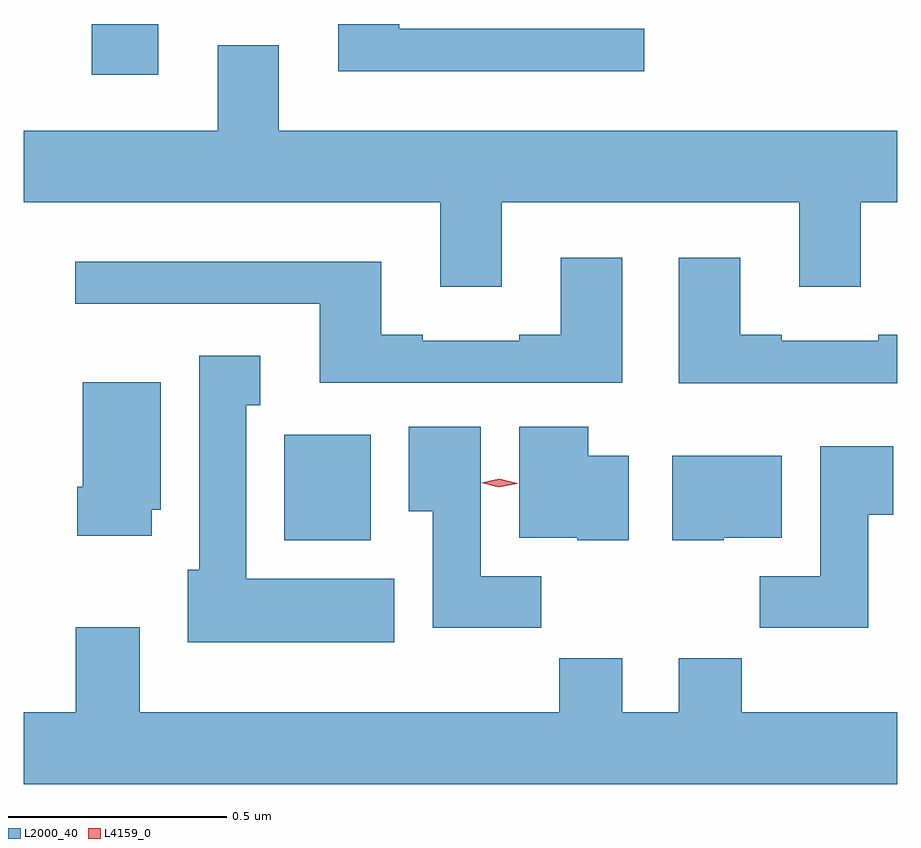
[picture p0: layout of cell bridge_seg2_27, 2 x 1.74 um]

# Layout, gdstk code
import gdstk
lib = gdstk.Library(unit=1e-6, precision=1e-09)
def R(c, l, rs):  # rectangles x0, y0, x1, y1
    for r in rs: c.add(gdstk.rectangle(r[:2], r[2:], *l))
def P(c, l, *ps):  # polygons
    for p in ps: c.add(gdstk.Polygon(p, *l))
L2000_40 = (2000, 40)
L4159_0 = (4159, 0)

bridge_seg2_27 = lib.new_cell('bridge_seg2_27')
R(bridge_seg2_27, L2000_40, [(825.368,604.238,825.565,604.48), (824.927,605.304,825.079,605.42)])
P(bridge_seg2_27, L2000_40, [(826.192,605.409),(825.631,605.409),(825.631,605.42),(825.491,605.42),(825.491,605.312),(826.192,605.312)],
  [(825.865,605.012),(826.547,605.012),(826.547,604.818),(826.687,604.818),(826.687,605.012),(826.771,605.012),(826.771,605.176),(825.355,605.176),(825.355,605.371),(825.215,605.371),(825.215,605.176),(824.771,605.176),(824.771,605.012),(825.725,605.012),(825.725,604.818),(825.865,604.818)],
  [(826.771,604.708),(826.727,604.708),(826.727,604.695),(826.507,604.695),(826.507,604.708),(826.411,604.708),(826.411,604.885),(826.271,604.885),(826.271,604.598),(826.771,604.598)],
  [(826.141,604.885),(826.001,604.885),(826.001,604.708),(825.905,604.708),(825.905,604.695),(825.685,604.695),(825.685,604.708),(825.589,604.708),(825.589,604.876),(824.889,604.876),(824.889,604.779),(825.449,604.779),(825.449,604.599),(826.141,604.599)],
  [(825.619,604.15),(825.28,604.15),(825.28,604.547),(825.313,604.547),(825.313,604.66),(825.173,604.66),(825.173,604.17),(825.146,604.17),(825.146,604.004),(825.619,604.004)],
  [(825.064,604.308),(825.085,604.308),(825.085,604.6),(824.906,604.6),(824.906,604.36),(824.894,604.36),(824.894,604.248),(825.064,604.248)],
  [(826.156,604.432),(826.063,604.432),(826.063,604.498),(825.905,604.498),(825.905,604.244),(826.038,604.244),(826.038,604.238),(826.156,604.238)],
  [(825.956,604.156),(825.817,604.156),(825.817,604.498),(825.653,604.498),(825.653,604.304),(825.707,604.304),(825.707,604.038),(825.956,604.038)],
  [(826.705,604.297),(826.762,604.297),(826.762,604.453),(826.595,604.453),(826.595,604.156),(826.456,604.156),(826.456,604.038),(826.705,604.038)],
  [(826.374,604.244),(826.507,604.244),(826.507,604.432),(826.256,604.432),(826.256,604.238),(826.374,604.238)],
  [(826.771,603.844),(826.415,603.844),(826.415,603.968),(826.271,603.968),(826.271,603.844),(826.141,603.844),(826.141,603.968),(825.997,603.968),(825.997,603.844),(825.037,603.844),(825.037,604.039),(824.89,604.039),(824.89,603.844),(824.771,603.844),(824.771,603.68),(826.771,603.68)])
P(bridge_seg2_27, L4159_0, [(825.859,604.359),(825.819,604.37),(825.819,604.37),(825.819,604.37),(825.86,604.379),(825.901,604.368),(825.901,604.368),(825.901,604.367)])

lib.write_gds('bridge_seg2_27.gds')
